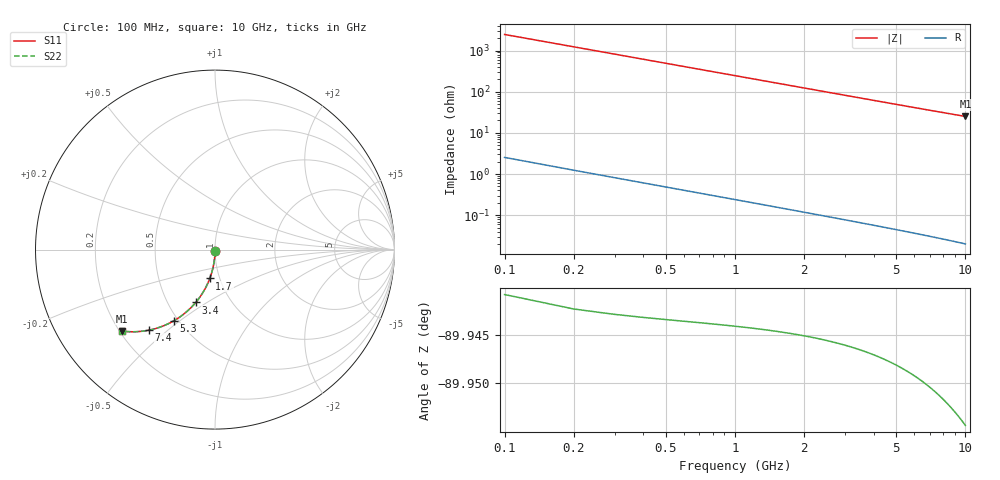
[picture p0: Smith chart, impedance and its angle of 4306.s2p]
# Hz S RI R 50.00
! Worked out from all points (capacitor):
!   100 points, 100 MHz to 10 GHz, reference 50 ohm
!   read as one part in shunt: C = 648 fF near 100 MHz
!   lowest |Z| = 25.1 ohm at 10 GHz (marker M1)
!   S11 on the Smith chart (normalised r, x): 100 MHz: 1.00, -0.02; 1.7 GHz: 0.90, -0.30; 3.4 GHz: 0.69, -0.45; 5.3 GHz: 0.48, -0.48; 7.4 GHz: 0.32, -0.43; 10 GHz: 0.21, -0.36
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1e8  7.8e-05 -0.00973  0.9997 -0.0106  0.9997 -0.0106  7.8e-05 -0.00973
2e8  -0.000241 -0.0195  0.9994 -0.0212  0.9994 -0.0212  -0.000241 -0.0195
3e8  -0.000766 -0.0292  0.9988 -0.0318  0.9988 -0.0318  -0.000766 -0.0292
4e8  -0.0015 -0.0389  0.9981 -0.0424  0.9981 -0.0424  -0.0015 -0.0389
5e8  -0.00243 -0.0485  0.9972 -0.053  0.9972 -0.053  -0.00243 -0.0485
6e8  -0.00357 -0.0582  0.996 -0.0635  0.996 -0.0635  -0.00357 -0.0582
8e8  -0.00646 -0.0774  0.9931 -0.0844  0.9931 -0.0844  -0.00646 -0.0774
1.1e9  -0.0123 -0.1057  0.9873 -0.1155  0.9873 -0.1155  -0.0123 -0.1057
1.4e9  -0.0198 -0.1335  0.9797 -0.1459  0.9797 -0.1459  -0.0198 -0.1335
1.7e9  -0.029 -0.1606  0.9705 -0.1756  0.9705 -0.1756  -0.029 -0.1606
1.8e9  -0.0324 -0.1694  0.967 -0.1854  0.967 -0.1854  -0.0324 -0.1694
2.1e9  -0.0437 -0.1953  0.9557 -0.2139  0.9557 -0.2139  -0.0437 -0.1953
2.5e9  -0.0609 -0.2282  0.9384 -0.2504  0.9384 -0.2504  -0.0609 -0.2282
2.9e9  -0.0804 -0.2591  0.9188 -0.2849  0.9188 -0.2849  -0.0804 -0.2591
3.4e9  -0.1075 -0.2947  0.8917 -0.3248  0.8917 -0.3248  -0.1075 -0.2947
4.2e9  -0.1556 -0.3438  0.8433 -0.3812  0.8433 -0.3812  -0.1556 -0.3438
5.1e9  -0.2143 -0.3876  0.7843 -0.4331  0.7843 -0.4331  -0.2143 -0.3876
5.3e9  -0.2277 -0.3957  0.7708 -0.443  0.7708 -0.443  -0.2277 -0.3957
6.7e9  -0.3217 -0.437  0.6761 -0.497  0.6761 -0.497  -0.3217 -0.437
7.4e9  -0.3673 -0.4487  0.63 -0.5151  0.63 -0.5151  -0.3673 -0.4487
8.4e9  -0.4293 -0.4568  0.5673 -0.5325  0.5673 -0.5325  -0.4293 -0.4568
1e10  -0.5184 -0.4537  0.477 -0.5444  0.477 -0.5444  -0.5184 -0.4537
